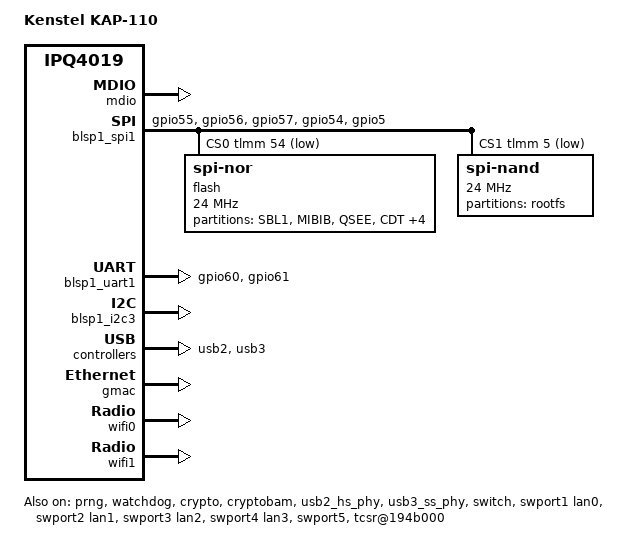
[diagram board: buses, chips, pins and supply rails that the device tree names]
// SPDX-License-Identifier: GPL-2.0-or-later OR MIT
/*
 * Kenstel KAP-110 dual-band indoor access point
 *
 * SoC:  Qualcomm IPQ4018 (IPQ4019 hw1.0, quad Cortex-A7 @717MHz)
 * NAND: GD5F1GQ1UC 128MiB, SLC, page size 2048
 * NOR:  GD25Q16 2MiB on spi0.0
 *
 * The stock firmware reports "Machine model: Qualcomm Technologies, Inc.
 * IPQ40xx/AP-DK01.1-C2" and boots FIT config@ap.dk01.1-c2, so the board follows
 * the AP-DK01 reference design. This DTS is therefore derived from the shipping
 * GL.iNet GL-A1300 DTS, which uses the same SoC, the same reference design and
 * the same ART precal offsets.
 *
 * Partition layout is taken verbatim from the stock boot log:
 *   spi0.0 (NOR): SBL1 MIBIB QSEE CDT DDRPARAMS APPSBLENV APPSBL ART
 *   spi0.1 (NAND): rootfs, 0x0 - 0x4000000 (64MiB)
 *
 * ART nvmem layout is confirmed by TWO independent sources:
 *   1. stock /lib/read_caldata_to_fs.sh
 *        dd if=<0:ART> of=/tmp/wifi0.caldata bs=32 count=377 skip=128   (0x1000)
 *        dd if=<0:ART> of=/tmp/wifi1.caldata bs=32 count=377 skip=640   (0x5000)
 *      377 * 32 = 12064 bytes = 0x2F20, matching the boot log exactly.
 *   2. the GL-A1300 upstream DTS precal_art_1000 / precal_art_5000.
 */

#include "qcom-ipq4019.dtsi"
#include <dt-bindings/gpio/gpio.h>
#include <dt-bindings/input/input.h>
#include <dt-bindings/leds/common.h>
#include <dt-bindings/soc/qcom,tcsr.h>

/ {
	model = "Kenstel KAP-110";
	compatible = "kenstel,kap110", "qcom,ipq4019";

	aliases {
		ethernet0 = &gmac;
		led-boot = &led_run;
		led-failsafe = &led_run;
		led-running = &led_run;
		led-upgrade = &led_run;
		label-mac-device = &swport4;
	};

	chosen {
		bootargs-append = " ubi.mtd=ubi root=/dev/ubiblock0_1";
	};

	soc {
		tcsr@1949000 {
			compatible = "qcom,tcsr";
			reg = <0x1949000 0x100>;
			qcom,wifi_glb_cfg = <TCSR_WIFI_GLB_CFG>;
		};

		tcsr@194b000 {
			/* select hostmode */
			compatible = "qcom,tcsr";
			reg = <0x194b000 0x100>;
			qcom,usb-hsphy-mode-select = <TCSR_USB_HSPHY_HOST_MODE>;
			status = "okay";
		};

		ess_tcsr@1953000 {
			compatible = "qcom,tcsr";
			reg = <0x1953000 0x1000>;
			qcom,ess-interface-select = <TCSR_ESS_PSGMII>;
		};

		tcsr@1957000 {
			compatible = "qcom,tcsr";
			reg = <0x1957000 0x100>;
			qcom,wifi_noc_memtype_m0_m2 = <TCSR_WIFI_NOC_MEMTYPE_M0_M2>;
		};
	};
};

&prng {
	status = "okay";
};

&mdio {
	status = "okay";
};

&blsp_dma {
	status = "okay";
};

&watchdog {
	status = "okay";
};

&crypto {
	status = "okay";
};

&cryptobam {
	status = "okay";
};

&blsp1_spi1 {
	pinctrl-0 = <&spi0_pins>;
	pinctrl-names = "default";
	cs-gpios = <&tlmm 54 GPIO_ACTIVE_LOW>, <&tlmm 5 GPIO_ACTIVE_LOW>;

	flash@0 {
		compatible = "jedec,spi-nor";
		reg = <0>;
		spi-max-frequency = <24000000>;

		partitions {
			compatible = "fixed-partitions";
			#address-cells = <1>;
			#size-cells = <1>;

			partition@0 {
				label = "SBL1";
				reg = <0x00000000 0x00040000>;
				read-only;
			};

			partition@40000 {
				label = "MIBIB";
				reg = <0x00040000 0x00020000>;
				read-only;
			};

			partition@60000 {
				label = "QSEE";
				reg = <0x00060000 0x00060000>;
				read-only;
			};

			partition@c0000 {
				label = "CDT";
				reg = <0x000c0000 0x00010000>;
				read-only;
			};

			partition@d0000 {
				label = "DDRPARAMS";
				reg = <0x000d0000 0x00010000>;
				read-only;
			};

			partition@e0000 {
				label = "APPSBLENV"; /* u-boot env */
				reg = <0x000e0000 0x00010000>;
			};

			partition@f0000 {
				label = "APPSBL"; /* u-boot */
				reg = <0x000f0000 0x00080000>;
				read-only;
			};

			partition@170000 {
				label = "ART";
				reg = <0x00170000 0x00010000>;
				read-only;

				nvmem-layout {
					compatible = "fixed-layout";
					#address-cells = <1>;
					#size-cells = <1>;

					macaddr_gmac0: macaddr@0 {
						compatible = "mac-base";
						reg = <0x0 0x6>;
						#nvmem-cell-cells = <1>;
					};

					macaddr_gmac1: macaddr@6 {
						reg = <0x6 0x6>;
						#nvmem-cell-cells = <1>;
					};

					/* wifi0 pre-calibration: 0x1000, 0x2F20 bytes */
					precal_art_1000: precal@1000 {
						reg = <0x1000 0x2f20>;
					};

					/* wifi1 pre-calibration: 0x5000, 0x2F20 bytes */
					precal_art_5000: precal@5000 {
						reg = <0x5000 0x2f20>;
					};
				};
			};
		}
	};

	spi-nand@1 {
		compatible = "spi-nand";
		reg = <1>;
		spi-max-frequency = <24000000>;

		partitions {
			compatible = "fixed-partitions";
			#address-cells = <1>;
			#size-cells = <1>;

			partition@0 {
				label = "rootfs";
				reg = <0x00000000 0x04000000>;   /* 64 MiB */
			};
		};
	};
};

&blsp1_uart1 {
	pinctrl-0 = <&serial_pins>;
	pinctrl-names = "default";
	status = "okay";
};

&tlmm {
	serial_pins: serial_pinmux {
		mux {
			pins = "gpio60", "gpio61";
			function = "blsp_uart0";
			bias-disable;
		};
	};

	i2c_0_pins: i2c_0_pinmux {
		pinmux {
			pins = "gpio58", "gpio59";
			function = "blsp_i2c0";
			bias-disable;
		};
	};

	spi0_pins: spi0_pinmux {
		mux_spi {
			function = "blsp_spi0";
			pins = "gpio55", "gpio56", "gpio57";
			drive-strength = <12>;
			bias-disable;
		};

		mux_cs {
			function = "gpio";
			pins = "gpio54", "gpio5";
			drive-strength = <2>;
			bias-disable;
			output-high;
		};
	}
};

&blsp1_i2c3 {
	status = "okay";
};

&usb2 {
	status = "okay";
};

&usb3 {
	status = "okay";
};

&usb2_hs_phy {
	status = "okay";
};

&usb3_ss_phy {
	status = "okay";
};

&gmac {
	status = "okay";
};

&switch {
	status = "okay";
};

/*
 * Port map recovered from the stock boot log:
 *   eth1.10 -> br-lan       VLAN 10  client LAN
 *   eth1.20 -> br-apman     VLAN 20  cloud-managed AP
 *   eth1.60 -> br-brman     VLAN 60  backhaul / mesh
 *   eth1     -> br-localman  untagged native management (192.168.1.1)
 *
 * The AP-DK01 reference design has one gmac (eth1) carrying all VLANs, so a
 * single switch port carries the tagged VLANs and the CPU port handles the
 * untagged management network.
 */
&swport1 {
	status = "okay";
	label = "lan0";
};

&swport2 {
	status = "okay";
	label = "lan1";
};

&swport3 {
	status = "okay";
	label = "lan2";
	nvmem-cell-names = "mac-address";
	nvmem-cells = <&macaddr_gmac0 2>;
};

&swport4 {
	status = "okay";
	label = "lan3";
	nvmem-cell-names = "mac-address";
	nvmem-cells = <&macaddr_gmac0 0>;
};

&swport5 {
	status = "okay";
	nvmem-cell-names = "mac-address";
	nvmem-cells = <&macaddr_gmac1>;
};

/*
 * wifi0 = 2.4 GHz, wifi1 = 5 GHz (from the stock boot log:
 * wifi0 FW wireless modes 0x680c, wifi1 FW wireless modes 0x1f9001).
 * pre-calibration is read straight out of the ART nvmem cells above, which
 * matches the offsets the stock firmware uses to extract the blobs.
 */
&wifi0 {
	status = "okay";
	nvmem-cell-names = "pre-calibration";
	nvmem-cells = <&precal_art_1000>;
};

&wifi1 {
	status = "okay";
	nvmem-cell-names = "pre-calibration";
	nvmem-cells = <&precal_art_5000>;
};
